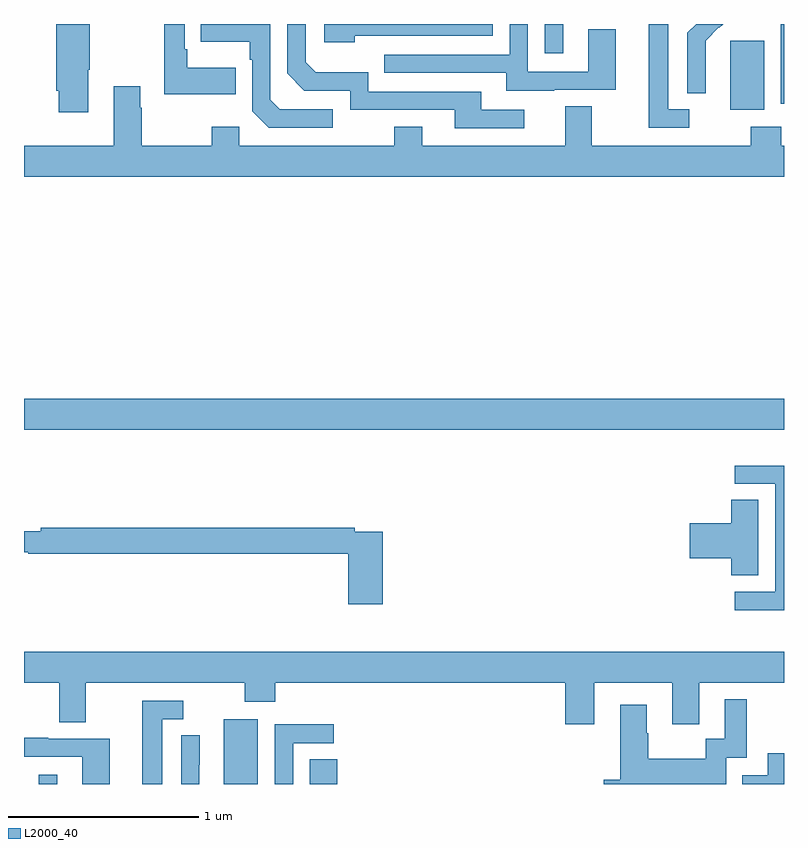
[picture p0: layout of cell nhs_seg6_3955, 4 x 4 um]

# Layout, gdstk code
import gdstk
lib = gdstk.Library(unit=1e-6, precision=1e-09)
def R(c, l, rs):  # rectangles x0, y0, x1, y1
    for r in rs: c.add(gdstk.rectangle(r[:2], r[2:], *l))
def P(c, l, *ps):  # polygons
    for p in ps: c.add(gdstk.Polygon(p, *l))
L2000_40 = (2000, 40)

nhs_seg6_3955 = lib.new_cell('nhs_seg6_3955')
R(nhs_seg6_3955, L2000_40, [(345.078,917.5,345.175,917.548), (346.052,917.5,346.231,917.842), (346.505,917.5,346.649,917.63), (345,919.364,349,919.528), (348.716,921.05,348.895,921.411), (348.984,921.079,349,921.5), (347.742,921.345,347.839,921.5)])
P(nhs_seg6_3955, L2000_40, [(346.115,921.271),(345.859,921.271),(345.859,921.367),(345.846,921.367),(345.846,921.5),(345.738,921.5),(345.738,921.131),(346.115,921.131)],
  [(345.337,921.259),(345.345,921.259),(345.345,921.5),(345.17,921.5),(345.17,921.148),(345.182,921.148),(345.182,921.036),(345.337,921.036)],
  [(347.632,921.048),(347.407,921.048),(347.407,921.144),(346.812,921.144),(346.812,921.247),(346.535,921.247),(346.482,921.3),(346.482,921.5),(346.386,921.5),(346.386,921.24),(346.476,921.15),(346.716,921.15),(346.716,921.048),(347.267,921.048),(347.267,920.952),(347.632,920.952)],
  [(348.502,921.051),(348.391,921.051),(348.391,921.5),(348.287,921.5),(348.287,920.955),(348.502,920.955)],
  [(348.588,921.29),(348.587,921.29),(348.587,921.413),(348.657,921.483),(348.66,921.48),(348.68,921.5),(348.538,921.5),(348.492,921.454),(348.492,921.136),(348.588,921.136)],
  [(346.624,921.051),(346.347,921.051),(346.296,921.102),(346.296,921.5),(345.931,921.5),(345.931,921.407),(346.188,921.407),(346.188,921.311),(346.2,921.311),(346.2,921.042),(346.287,920.955),(346.624,920.955)],
  [(347.791,921.153),(348.115,921.153),(348.115,921.473),(347.97,921.473),(347.97,921.249),(347.652,921.249),(347.652,921.5),(347.556,921.5),(347.556,921.339),(346.897,921.339),(346.897,921.243),(347.537,921.243),(347.537,921.149),(347.791,921.149)],
  [(346.742,921.438),(347.466,921.438),(347.466,921.5),(346.581,921.5),(346.581,921.404),(346.742,921.404)],
  [(345.988,920.959),(345.988,920.86),(345.621,920.86),(345.621,921.059),(345.613,921.059),(345.613,921.172),(345.473,921.172),(345.473,920.86),(345,920.86),(345,920.696),(349,920.696),(349,920.86),(348.986,920.86),(348.986,920.959),(348.826,920.959),(348.826,920.86),(347.989,920.86),(347.989,921.068),(347.849,921.068),(347.849,920.86),(347.095,920.86),(347.095,920.959),(346.948,920.959),(346.948,920.86),(346.134,920.86),(346.134,920.959)],
  [(349,919.176),(348.741,919.176),(348.741,919.08),(348.954,919.08),(348.954,918.513),(348.741,918.513),(348.741,918.415),(349,918.415)],
  [(348.865,918.995),(348.722,918.995),(348.722,918.872),(348.504,918.872),(348.504,918.689),(348.722,918.689),(348.722,918.598),(348.865,918.598)],
  [(346.889,918.828),(346.742,918.828),(346.742,918.848),(345.088,918.848),(345.088,918.829),(345,918.829),(345,918.72),(345.022,918.72),(345.022,918.712),(346.706,918.712),(346.706,918.447),(346.889,918.447)],
  [(348.001,918.032),(348.413,918.032),(348.413,917.814),(348.553,917.814),(348.553,918.032),(349,918.032),(349,918.196),(345,918.196),(345,918.032),(345.185,918.032),(345.185,917.824),(345.325,917.824),(345.325,918.032),(346.162,918.032),(346.162,917.933),(346.322,917.933),(346.322,918.032),(347.849,918.032),(347.849,917.814),(348.001,917.814)],
  [(348.696,917.637),(348.805,917.637),(348.805,917.947),(348.689,917.947),(348.689,917.738),(348.588,917.738),(348.588,917.632),(348.285,917.632),(348.285,917.766),(348.277,917.766),(348.277,917.917),(348.137,917.917),(348.137,917.522),(348.05,917.522),(348.05,917.5),(348.696,917.5)],
  [(345.727,917.841),(345.838,917.841),(345.838,917.937),(345.623,917.937),(345.623,917.5),(345.727,917.5)],
  [(346.416,917.715),(346.63,917.715),(346.63,917.814),(346.32,917.814),(346.32,917.5),(346.416,917.5)],
  [(345.923,917.602),(345.924,917.602),(345.924,917.756),(345.828,917.756),(345.828,917.5),(345.923,917.5)],
  [(345.451,917.739),(345.127,917.739),(345.127,917.743),(345,917.743),(345,917.643),(345.306,917.643),(345.306,917.5),(345.451,917.5)],
  [(349,917.661),(348.915,917.661),(348.915,917.547),(348.781,917.547),(348.781,917.5),(349,917.5)])

lib.write_gds('nhs_seg6_3955.gds')
